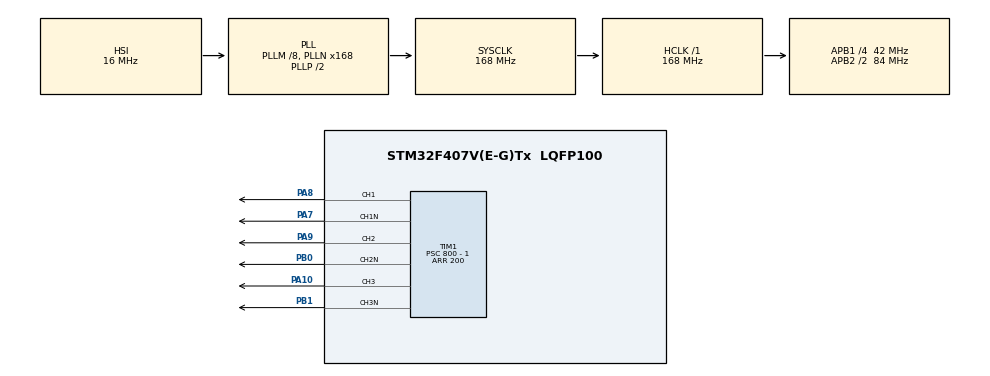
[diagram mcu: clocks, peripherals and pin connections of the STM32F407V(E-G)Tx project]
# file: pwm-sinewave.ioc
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Mcu.Family=STM32F4
Mcu.Name=STM32F407V(E-G)Tx
Mcu.Package=LQFP100
NVIC.PriorityGroup=NVIC_PRIORITYGROUP_4
NVIC.TIM1_CC_IRQn=true\:0\:0\:false\:false\:true\:true\:true
PA10.Signal=S_TIM1_CH3
PA13.Mode=Serial_Wire
PA13.Signal=SYS_JTMS-SWDIO
PA14.Mode=Serial_Wire
PA14.Signal=SYS_JTCK-SWCLK
PA7.Mode=PWM Generation1 CH1 CH1N
PA7.Signal=TIM1_CH1N
PA8.Signal=S_TIM1_CH1
PA9.Signal=S_TIM1_CH2
PB0.Mode=PWM Generation2 CH2 CH2N
PB0.Signal=TIM1_CH2N
PB1.Mode=PWM Generation3 CH3 CH3N
PB1.Signal=TIM1_CH3N
ProjectManager.HeapSize=0x200
ProjectManager.StackSize=0x400
ProjectManager.TargetToolchain=MDK-ARM V5.27
RCC.48MHZClocksFreq_Value=84000000
RCC.AHBFreq_Value=168000000
RCC.APB1CLKDivider=RCC_HCLK_DIV4
RCC.APB1Freq_Value=42000000
RCC.APB1TimFreq_Value=84000000
RCC.APB2CLKDivider=RCC_HCLK_DIV2
RCC.APB2Freq_Value=84000000
RCC.APB2TimFreq_Value=168000000
RCC.CortexFreq_Value=168000000
RCC.HCLKFreq_Value=168000000
RCC.HSE_VALUE=25000000
RCC.HSI_VALUE=16000000
RCC.LSE_VALUE=32768
RCC.PLLM=8
RCC.PLLN=168
RCC.SYSCLKFreq_VALUE=168000000
RCC.SYSCLKSource=RCC_SYSCLKSOURCE_PLLCLK
RCC.VCOOutputFreq_Value=336000000
SH.S_TIM1_CH1.0=TIM1_CH1,PWM Generation1 CH1 CH1N
SH.S_TIM1_CH2.0=TIM1_CH2,PWM Generation2 CH2 CH2N
SH.S_TIM1_CH3.0=TIM1_CH3,PWM Generation3 CH3 CH3N
TIM1.Channel-PWM\ Generation1\ CH1\ CH1N=TIM_CHANNEL_1
TIM1.Channel-PWM\ Generation2\ CH2\ CH2N=TIM_CHANNEL_2
TIM1.Channel-PWM\ Generation3\ CH3\ CH3N=TIM_CHANNEL_3
TIM1.DeadTime=85
TIM1.LockLevel=TIM_LOCKLEVEL_1
TIM1.Period=200
TIM1.Prescaler=800 - 1
VP_TIM1_VS_ClockSourceINT.Mode=Internal
board=custom

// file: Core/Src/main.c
/* USER CODE BEGIN Header */
/**
  ******************************************************************************
  * @file           : main.c
  * @brief          : Main program body
  ******************************************************************************
  * @attention
  *
  * <h2><center>&copy; Copyright (c) 2021 STMicroelectronics.
  * All rights reserved.</center></h2>
  *
  * This software component is licensed by ST under BSD 3-Clause license,
  * the "License"; You may not use this file except in compliance with the
  * License. You may obtain a copy of the License at:
  *                        opensource.org/licenses/BSD-3-Clause
  *
  ******************************************************************************
  */
/* USER CODE END Header */
#include "main.h"
#include "tim.h"
#include "gpio.h"

/* USER CODE BEGIN PTD */
uint32_t pwmsine1p[21]={100,131,159,181,195,200,195,181,159,131,100,69,41,19,5,0,5,19,41,69,100};
uint32_t pwmsine2p[21];
uint32_t pwmsine3p[21];
/* USER CODE END PTD */

/* USER CODE BEGIN PM */
int i = 0;
int cn1 = 0,cn2 = 0,cn3 = 0;

void HAL_TIM_PWM_PulseFinishedCallback(TIM_HandleTypeDef *htim)
{
	if(htim->Channel == 1)
	{
		htim->Instance->CCR1 = pwmsine3p[cn1];
		cn1++;

		if( cn1 == 21 )
			cn1 = 0;
	}

	if(htim->Channel == 2)
	{
		htim->Instance->CCR2 = pwmsine1p[cn2];
		cn2++;

		if( cn2 == 21 )
			cn2 = 0;
	}

	if(htim->Channel == 4)
	{
		htim->Instance->CCR3 = pwmsine2p[cn3];
		cn3++;

		if( cn3 == 21 )
			cn3 = 0;
	}
}
/* USER CODE END PM */

void SystemClock_Config(void);

int main(void)
{

  /* MCU Configuration--------------------------------------------------------*/

  /* Reset of all peripherals, Initializes the Flash interface and the Systick. */
  HAL_Init();

  /* Configure the system clock */
  SystemClock_Config();

  /* Initialize all configured peripherals */
  MX_GPIO_Init();
  MX_TIM1_Init();
  /* USER CODE BEGIN 2 */
	for( i = 7 ; i < 21 ; i++)
	 pwmsine2p[i - 7] = pwmsine1p[i];

	for( i = 0 ; i < 7 ; i++)
	 pwmsine2p[i + 14] = pwmsine1p[i];

	for( i = 14 ; i < 21 ; i++)
	 pwmsine3p[i - 14] = pwmsine1p[i];

	for( i = 0 ; i < 14 ; i++)
	 pwmsine3p[i + 7] = pwmsine1p[i];

	HAL_TIM_PWM_Start_IT(&htim1,TIM_CHANNEL_1);
	HAL_TIMEx_PWMN_Start(&htim1, TIM_CHANNEL_1);
	HAL_TIM_PWM_Start_IT(&htim1,TIM_CHANNEL_2);
	HAL_TIMEx_PWMN_Start(&htim1, TIM_CHANNEL_2);
	HAL_TIM_PWM_Start_IT(&htim1,TIM_CHANNEL_3);
	HAL_TIMEx_PWMN_Start(&htim1, TIM_CHANNEL_3);
  /* USER CODE END 2 */

  /* Infinite loop */
  while (1)
  {

  }
}

void SystemClock_Config(void)
{
  RCC_OscInitTypeDef RCC_OscInitStruct = {0};
  RCC_ClkInitTypeDef RCC_ClkInitStruct = {0};

  /** Configure the main internal regulator output voltage
  */
  __HAL_RCC_PWR_CLK_ENABLE();
  __HAL_PWR_VOLTAGESCALING_CONFIG(PWR_REGULATOR_VOLTAGE_SCALE1);
  /** Initializes the RCC Oscillators according to the specified parameters
  * in the RCC_OscInitTypeDef structure.
  */
  RCC_OscInitStruct.OscillatorType = RCC_OSCILLATORTYPE_HSI;
  RCC_OscInitStruct.HSIState = RCC_HSI_ON;
  RCC_OscInitStruct.HSICalibrationValue = RCC_HSICALIBRATION_DEFAULT;
  RCC_OscInitStruct.PLL.PLLState = RCC_PLL_ON;
  RCC_OscInitStruct.PLL.PLLSource = RCC_PLLSOURCE_HSI;
  RCC_OscInitStruct.PLL.PLLM = 8;
  RCC_OscInitStruct.PLL.PLLN = 168;
  RCC_OscInitStruct.PLL.PLLP = RCC_PLLP_DIV2;
  RCC_OscInitStruct.PLL.PLLQ = 4;
  if (HAL_RCC_OscConfig(&RCC_OscInitStruct) != HAL_OK)
  {
    Error_Handler();
  }
  /** Initializes the CPU, AHB and APB buses clocks
  */
  RCC_ClkInitStruct.ClockType = RCC_CLOCKTYPE_HCLK|RCC_CLOCKTYPE_SYSCLK
                              |RCC_CLOCKTYPE_PCLK1|RCC_CLOCKTYPE_PCLK2;
  RCC_ClkInitStruct.SYSCLKSource = RCC_SYSCLKSOURCE_PLLCLK;
  RCC_ClkInitStruct.AHBCLKDivider = RCC_SYSCLK_DIV1;
  RCC_ClkInitStruct.APB1CLKDivider = RCC_HCLK_DIV4;
  RCC_ClkInitStruct.APB2CLKDivider = RCC_HCLK_DIV2;

  if (HAL_RCC_ClockConfig(&RCC_ClkInitStruct, FLASH_LATENCY_5) != HAL_OK)
  {
    Error_Handler();
  }
}

void Error_Handler(void)
{
  __disable_irq();
  while (1)
  {
  }
}

/************************ (C) COPYRIGHT STMicroelectronics *****END OF FILE****/
